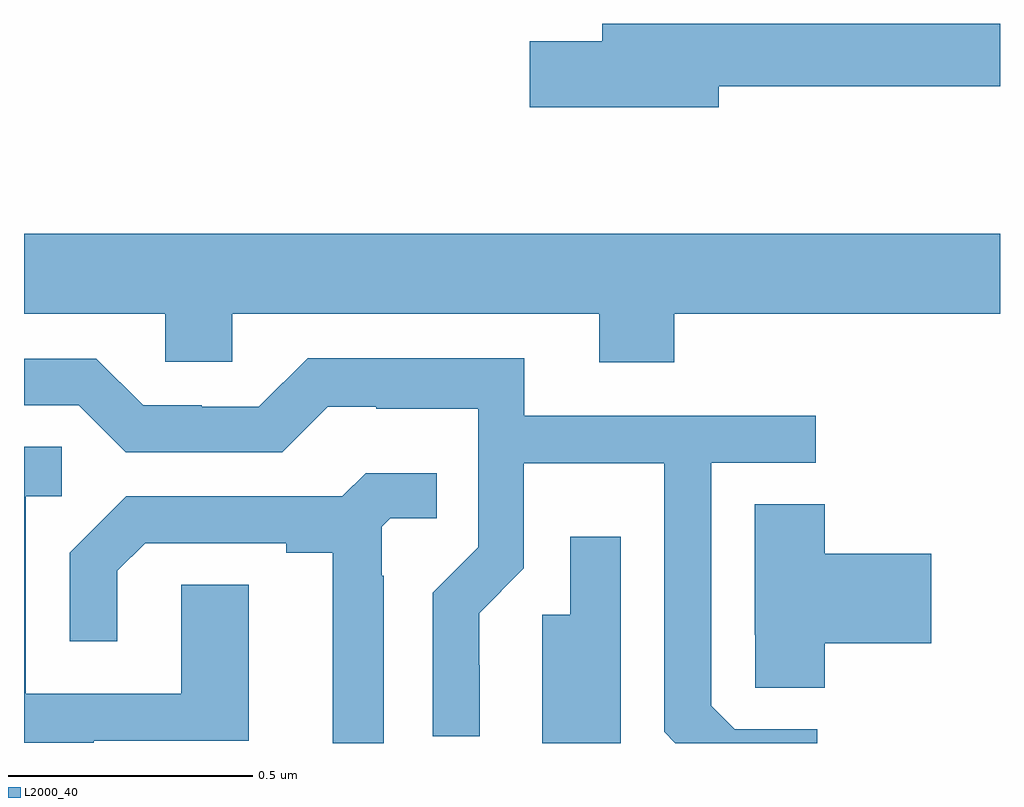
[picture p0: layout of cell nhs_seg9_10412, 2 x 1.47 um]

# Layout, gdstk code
import gdstk
lib = gdstk.Library(unit=1e-6, precision=1e-09)
def P(c, l, *ps):  # polygons
    for p in ps: c.add(gdstk.Polygon(p, *l))
L2000_40 = (2000, 40)

nhs_seg9_10412 = lib.new_cell('nhs_seg9_10412')
P(nhs_seg9_10412, L2000_40, [(243.424,1236.846),(244,1236.846),(244,1236.974),(243.185,1236.974),(243.185,1236.938),(243.036,1236.938),(243.036,1236.803),(243.424,1236.803)],
  [(243.332,1236.38),(244,1236.38),(244,1236.544),(242,1236.544),(242,1236.38),(242.289,1236.38),(242.289,1236.282),(242.427,1236.282),(242.427,1236.38),(243.179,1236.38),(243.179,1236.281),(243.332,1236.281)],
  [(243.626,1235.529),(243.456,1235.529),(243.408,1235.577),(243.408,1236.075),(243.622,1236.075),(243.622,1236.171),(243.025,1236.171),(243.025,1236.289),(242.581,1236.289),(242.481,1236.189),(242.364,1236.189),(242.364,1236.192),(242.244,1236.192),(242.148,1236.288),(242,1236.288),(242,1236.192),(242.112,1236.192),(242.208,1236.096),(242.529,1236.096),(242.622,1236.189),(242.722,1236.189),(242.722,1236.185),(242.931,1236.185),(242.931,1235.901),(242.838,1235.808),(242.838,1235.514),(242.934,1235.514),(242.934,1235.66),(242.933,1235.66),(242.933,1235.766),(243.024,1235.858),(243.024,1236.074),(243.312,1236.074),(243.312,1235.523),(243.335,1235.5),(243.626,1235.5)],
  [(242.143,1235.505),(242.461,1235.505),(242.461,1235.825),(242.322,1235.825),(242.322,1235.601),(242.004,1235.601),(242.004,1236.006),(242.077,1236.006),(242.077,1236.107),(242,1236.107),(242,1235.501),(242.143,1235.501)],
  [(242.737,1235.843),(242.733,1235.843),(242.733,1235.943),(242.751,1235.961),(242.846,1235.961),(242.846,1236.053),(242.7,1236.053),(242.652,1236.006),(242.21,1236.006),(242.094,1235.89),(242.094,1235.709),(242.191,1235.709),(242.191,1235.853),(242.248,1235.91),(242.537,1235.91),(242.537,1235.89),(242.633,1235.89),(242.633,1235.5),(242.737,1235.5)],
  [(243.641,1235.705),(243.859,1235.705),(243.859,1235.888),(243.641,1235.888),(243.641,1235.99),(243.497,1235.99),(243.497,1235.722),(243.498,1235.722),(243.498,1235.614),(243.641,1235.614)],
  [(243.223,1235.923),(243.119,1235.923),(243.119,1235.763),(243.062,1235.763),(243.062,1235.5),(243.223,1235.5)])

lib.write_gds('nhs_seg9_10412.gds')
